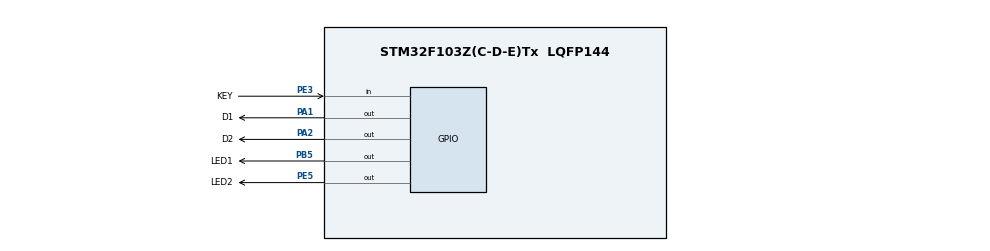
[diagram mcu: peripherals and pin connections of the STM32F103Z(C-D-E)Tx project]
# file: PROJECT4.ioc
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Mcu.Family=STM32F1
Mcu.Name=STM32F103Z(C-D-E)Tx
Mcu.Package=LQFP144
NVIC.PriorityGroup=NVIC_PRIORITYGROUP_4
PA1.GPIO_Label=D1
PA1.PinState=GPIO_PIN_SET
PA1.Signal=GPIO_Output
PA2.GPIO_Label=D2
PA2.PinState=GPIO_PIN_SET
PA2.Signal=GPIO_Output
PB5.GPIO_Label=LED1
PB5.PinState=GPIO_PIN_SET
PB5.Signal=GPIO_Output
PE3.GPIO_Label=KEY
PE3.GPIO_PuPd=GPIO_PULLUP
PE3.Signal=GPIO_Input
PE5.GPIO_Label=LED2
PE5.PinState=GPIO_PIN_SET
PE5.Signal=GPIO_Output
ProjectManager.HeapSize=0x200
ProjectManager.StackSize=0x400
ProjectManager.TargetToolchain=MDK-ARM V5.32
RCC.APB1Freq_Value=8000000
RCC.APB2Freq_Value=8000000
VP_SYS_VS_ND.Mode=No_Debug
board=custom

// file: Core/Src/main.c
/* USER CODE BEGIN Header */
/**
  ******************************************************************************
  * @file           : main.c
  * @brief          : Main program body
  ******************************************************************************
  * @attention
  *
  * Copyright (c) 2024 STMicroelectronics.
  * All rights reserved.
  *
  * This software is licensed under terms that can be found in the LICENSE file
  * in the root directory of this software component.
  * If no LICENSE file comes with this software, it is provided AS-IS.
  *
  ******************************************************************************
  */
/* USER CODE END Header */
#include "main.h"

void SystemClock_Config(void);
static void MX_GPIO_Init(void);

/* USER CODE BEGIN 0 */
uint8_t keyflag =0;
/* USER CODE END 0 */

int main(void)
{

  /* MCU Configuration--------------------------------------------------------*/

  /* Reset of all peripherals, Initializes the Flash interface and the Systick. */
  HAL_Init();

  /* Configure the system clock */
  SystemClock_Config();

  /* Initialize all configured peripherals */
  MX_GPIO_Init();

  /* Infinite loop */
  /* USER CODE BEGIN WHILE */
  while (1)
  {
		if(HAL_GPIO_ReadPin(KEY_GPIO_Port,KEY_Pin)==GPIO_PIN_RESET)
		{
				keyflag++;
			while(HAL_GPIO_ReadPin(KEY_GPIO_Port,KEY_Pin)==GPIO_PIN_RESET);
			if(keyflag==3)
			{
				keyflag=1;
			}
		}
		if(keyflag==1)  //keyflagΪ1ʱ������LED��ͬʱ��˸
		{HAL_GPIO_WritePin(LED1_GPIO_Port,LED1_Pin,GPIO_PIN_RESET);
			HAL_GPIO_WritePin(LED2_GPIO_Port,LED2_Pin,GPIO_PIN_RESET);
			HAL_Delay(200);
			HAL_GPIO_WritePin(LED1_GPIO_Port,LED1_Pin,GPIO_PIN_SET);
			HAL_GPIO_WritePin(LED2_GPIO_Port,LED2_Pin,GPIO_PIN_SET);
			HAL_Delay(200);
	}
		if(keyflag==2)			//keyflagΪ2ʱ������LED�ƽ�����˸
		{
			HAL_GPIO_WritePin(LED1_GPIO_Port,LED1_Pin,GPIO_PIN_SET);
			HAL_GPIO_WritePin(LED2_GPIO_Port,LED2_Pin,GPIO_PIN_RESET);
			HAL_Delay(200);
			HAL_GPIO_WritePin(LED1_GPIO_Port,LED1_Pin,GPIO_PIN_RESET);
			HAL_GPIO_WritePin(LED2_GPIO_Port,LED2_Pin,GPIO_PIN_SET);
			HAL_Delay(200);

		}
    /* USER CODE END WHILE */

  }
}

void SystemClock_Config(void)
{
  RCC_OscInitTypeDef RCC_OscInitStruct = {0};
  RCC_ClkInitTypeDef RCC_ClkInitStruct = {0};

  /** Initializes the RCC Oscillators according to the specified parameters
  * in the RCC_OscInitTypeDef structure.
  */
  RCC_OscInitStruct.OscillatorType = RCC_OSCILLATORTYPE_HSI;
  RCC_OscInitStruct.HSIState = RCC_HSI_ON;
  RCC_OscInitStruct.HSICalibrationValue = RCC_HSICALIBRATION_DEFAULT;
  RCC_OscInitStruct.PLL.PLLState = RCC_PLL_NONE;
  if (HAL_RCC_OscConfig(&RCC_OscInitStruct) != HAL_OK)
  {
    Error_Handler();
  }

  /** Initializes the CPU, AHB and APB buses clocks
  */
  RCC_ClkInitStruct.ClockType = RCC_CLOCKTYPE_HCLK|RCC_CLOCKTYPE_SYSCLK
                              |RCC_CLOCKTYPE_PCLK1|RCC_CLOCKTYPE_PCLK2;
  RCC_ClkInitStruct.SYSCLKSource = RCC_SYSCLKSOURCE_HSI;
  RCC_ClkInitStruct.AHBCLKDivider = RCC_SYSCLK_DIV1;
  RCC_ClkInitStruct.APB1CLKDivider = RCC_HCLK_DIV1;
  RCC_ClkInitStruct.APB2CLKDivider = RCC_HCLK_DIV1;

  if (HAL_RCC_ClockConfig(&RCC_ClkInitStruct, FLASH_LATENCY_0) != HAL_OK)
  {
    Error_Handler();
  }
}

static void MX_GPIO_Init(void)
{
  GPIO_InitTypeDef GPIO_InitStruct = {0};

  /* GPIO Ports Clock Enable */
  __HAL_RCC_GPIOE_CLK_ENABLE();
  __HAL_RCC_GPIOA_CLK_ENABLE();
  __HAL_RCC_GPIOB_CLK_ENABLE();

  /*Configure GPIO pin Output Level */
  HAL_GPIO_WritePin(LED2_GPIO_Port, LED2_Pin, GPIO_PIN_SET);

  /*Configure GPIO pin Output Level */
  HAL_GPIO_WritePin(GPIOA, D1_Pin|D2_Pin, GPIO_PIN_SET);

  /*Configure GPIO pin Output Level */
  HAL_GPIO_WritePin(LED1_GPIO_Port, LED1_Pin, GPIO_PIN_SET);

  /*Configure GPIO pin : KEY_Pin */
  GPIO_InitStruct.Pin = KEY_Pin;
  GPIO_InitStruct.Mode = GPIO_MODE_INPUT;
  GPIO_InitStruct.Pull = GPIO_PULLUP;
  HAL_GPIO_Init(KEY_GPIO_Port, &GPIO_InitStruct);

  /*Configure GPIO pin : LED2_Pin */
  GPIO_InitStruct.Pin = LED2_Pin;
  GPIO_InitStruct.Mode = GPIO_MODE_OUTPUT_PP;
  GPIO_InitStruct.Pull = GPIO_NOPULL;
  GPIO_InitStruct.Speed = GPIO_SPEED_FREQ_LOW;
  HAL_GPIO_Init(LED2_GPIO_Port, &GPIO_InitStruct);

  /*Configure GPIO pins : D1_Pin D2_Pin */
  GPIO_InitStruct.Pin = D1_Pin|D2_Pin;
  GPIO_InitStruct.Mode = GPIO_MODE_OUTPUT_PP;
  GPIO_InitStruct.Pull = GPIO_NOPULL;
  GPIO_InitStruct.Speed = GPIO_SPEED_FREQ_LOW;
  HAL_GPIO_Init(GPIOA, &GPIO_InitStruct);

  /*Configure GPIO pin : LED1_Pin */
  GPIO_InitStruct.Pin = LED1_Pin;
  GPIO_InitStruct.Mode = GPIO_MODE_OUTPUT_PP;
  GPIO_InitStruct.Pull = GPIO_NOPULL;
  GPIO_InitStruct.Speed = GPIO_SPEED_FREQ_LOW;
  HAL_GPIO_Init(LED1_GPIO_Port, &GPIO_InitStruct);

}

void Error_Handler(void)
{
  __disable_irq();
  while (1)
  {
  }
}
